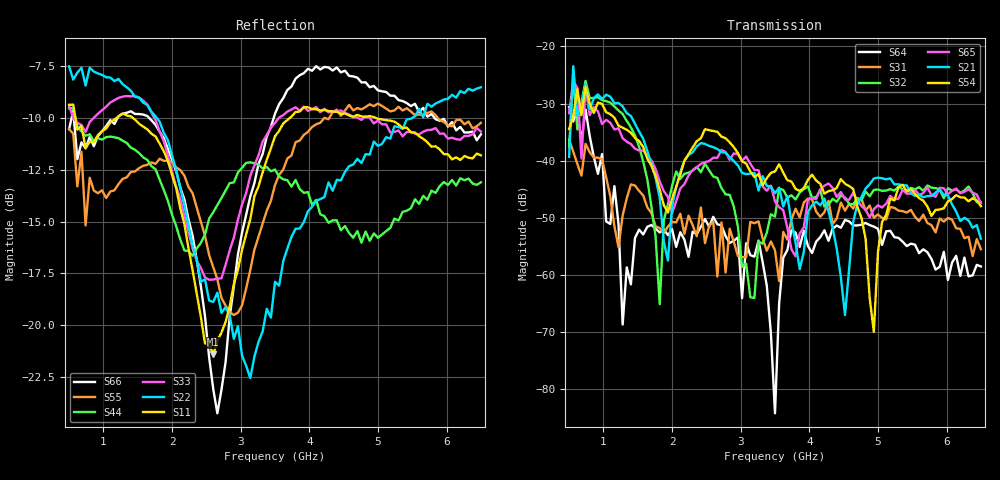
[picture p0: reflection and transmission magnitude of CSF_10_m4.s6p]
!Keysight Technologies,M9804A,MY58100912,A.14.10.03
!Date: Thursday, April 27, 2023 10:28:33
!Correction: S11(C  6-Port  )
!S12(C  6-Port  )
!S13(C  6-Port  )
!S14(C  6-Port  )
!S15(C  6-Port  )
!S16(C  6-Port  )
!S21(C  6-Port  )
!S22(C  6-Port  )
!S23(C  6-Port  )
!S24(C  6-Port  )
!S25(C  6-Port  )
!S26(C  6-Port  )
!S31(C  6-Port  )
!S32(C  6-Port  )
!S33(C  6-Port  )
!S34(C  6-Port  )
!S35(C  6-Port  )
!S36(C  6-Port  )
!S41(C  6-Port  )
!S42(C  6-Port  )
!S43(C  6-Port  )
!S44(C  6-Port  )
!S45(C  6-Port  )
!S46(C  6-Port  )
!S51(C  6-Port  )
!S52(C  6-Port  )
!S53(C  6-Port  )
!S54(C  6-Port  )
!S55(C  6-Port  )
!S56(C  6-Port  )
!S61(C  6-Port  )
!S62(C  6-Port  )
!S63(C  6-Port  )
!S64(C  6-Port  )
!S65(C  6-Port  )
!S66(C  6-Port  )
!S6P File: Measurement: :
# Hz S  RI  R 50
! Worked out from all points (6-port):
!   101 points, 500 MHz to 6.5 GHz, reference 50 ohm
!   strongest paths, dB at 500 MHz, 2 GHz, 3.5 GHz, 5 GHz, 6.5 GHz:
!     S54: -34.4, -46.6, -41.9, -56.0, -48.0
!     S21: -39.3, -47.9, -45.7, -43.0, -53.6
!     S65: -31.7, -49.2, -47.1, -47.8, -47.4
!     S32: -37.7, -44.4, -49.8, -45.0, -47.3
!     S31: -36.3, -50.7, -55.7, -49.4, -55.5
!     S64: -30.6, -52.0, -84.2, -51.9, -58.5
!   lowest |S11| = -21.4 dB at 2.6 GHz (marker M1), VSWR 1.19, Z = 42.5 + j2.19 ohm
!   |S11| at or under -10 dB: 592.2 MHz to 1.188 GHz (596.1 MHz wide, 67 % of centre); 1.431 GHz to 3.713 GHz (2.283 GHz wide, 88.7 % of centre); 4.973 GHz to end of sweep
